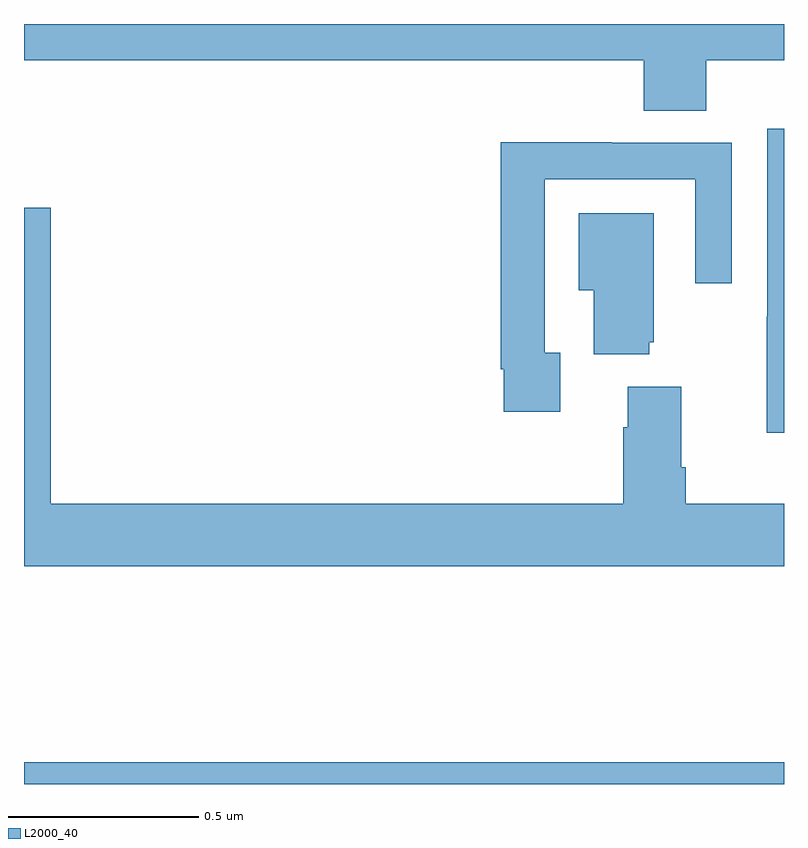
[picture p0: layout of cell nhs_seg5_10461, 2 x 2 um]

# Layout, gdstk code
import gdstk
lib = gdstk.Library(unit=1e-6, precision=1e-09)
def R(c, l, rs):  # rectangles x0, y0, x1, y1
    for r in rs: c.add(gdstk.rectangle(r[:2], r[2:], *l))
def P(c, l, *ps):  # polygons
    for p in ps: c.add(gdstk.Polygon(p, *l))
L2000_40 = (2000, 40)

nhs_seg5_10461 = lib.new_cell('nhs_seg5_10461')
R(nhs_seg5_10461, L2000_40, [(246,910.799,248,910.856)])
P(nhs_seg5_10461, L2000_40, [(247.796,912.704),(248,912.704),(248,912.799),(246,912.799),(246,912.704),(247.631,912.704),(247.631,912.571),(247.796,912.571)],
  [(248,912.523),(247.956,912.523),(247.956,912.029),(247.954,912.029),(247.954,911.723),(248,911.723)],
  [(247.411,911.934),(247.371,911.934),(247.371,912.39),(247.767,912.39),(247.767,912.117),(247.863,912.117),(247.863,912.486),(247.547,912.486),(247.547,912.488),(247.255,912.488),(247.255,911.89),(247.263,911.89),(247.263,911.778),(247.411,911.778)],
  [(248,911.536),(247.742,911.536),(247.742,911.632),(247.729,911.632),(247.729,911.845),(247.589,911.845),(247.589,911.738),(247.577,911.738),(247.577,911.536),(246.071,911.536),(246.071,912.316),(246,912.316),(246,911.372),(248,911.372)],
  [(247.646,911.961),(247.657,911.961),(247.657,912.301),(247.46,912.301),(247.46,912.098),(247.499,912.098),(247.499,911.93),(247.646,911.93)])

lib.write_gds('nhs_seg5_10461.gds')
